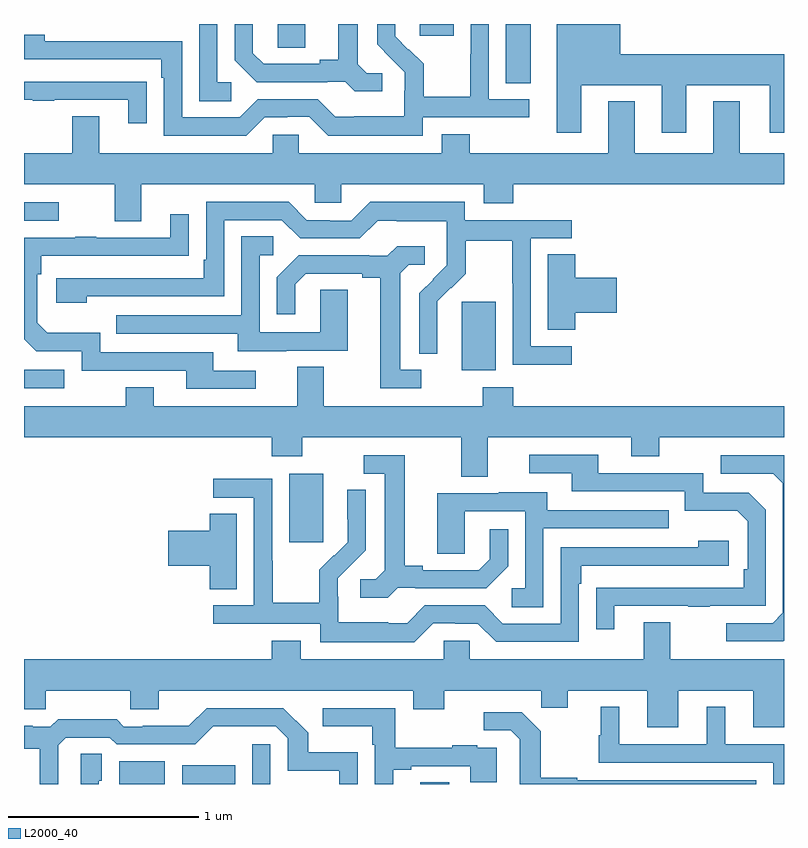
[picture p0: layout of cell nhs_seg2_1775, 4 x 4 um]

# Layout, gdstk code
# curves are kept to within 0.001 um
import gdstk
lib = gdstk.Library(unit=1e-6, precision=1e-09)
def R(c, l, rs):  # rectangles x0, y0, x1, y1
    for r in rs: c.add(gdstk.rectangle(r[:2], r[2:], *l))
def P(c, l, *ps):  # polygons
    for p in ps: c.add(gdstk.Polygon(p, *l))
L2000_40 = (2000, 40)

nhs_seg2_1775 = lib.new_cell('nhs_seg2_1775')
R(nhs_seg2_1775, L2000_40, [(203.501,657.8,203.74,657.919), (203.834,657.8,204.112,657.898), (204.201,657.8,204.297,658.009), (205.085,657.8,205.237,657.809), (204.395,659.073,204.574,659.434), (203,659.883,203.212,659.979), (205.304,659.978,205.483,660.339), (203,660.765,203.182,660.861), (205.535,661.489,205.666,661.8), (204.336,661.675,204.481,661.8), (205.082,661.737,205.261,661.8)])
P(nhs_seg2_1775, L2000_40, [(205.933,661.478),(206.357,661.478),(206.357,661.227),(206.485,661.227),(206.485,661.478),(206.924,661.478),(206.924,661.227),(207,661.227),(207,661.642),(206.137,661.642),(206.137,661.8),(205.805,661.8),(205.805,661.227),(205.933,661.227)],
  [(205.098,661.308),(205.66,661.308),(205.66,661.404),(205.446,661.404),(205.446,661.8),(205.35,661.8),(205.35,661.64),(205.348,661.64),(205.348,661.417),(205.103,661.417),(205.103,661.591),(205.026,661.668),(205.023,661.665),(204.953,661.736),(204.953,661.8),(204.858,661.8),(204.858,661.694),(205.004,661.546),(205.004,661.449),(205.002,661.449),(205.002,661.315),(204.739,661.315),(204.739,661.311),(204.639,661.311),(204.546,661.404),(204.231,661.404),(204.135,661.308),(203.832,661.308),(203.832,661.71),(203.108,661.71),(203.108,661.744),(203,661.744),(203,661.614),(203.723,661.614),(203.723,661.517),(203.736,661.517),(203.736,661.212),(204.171,661.212),(204.267,661.308),(204.386,661.308),(204.386,661.311),(204.501,661.311),(204.601,661.211),(205.098,661.211)],
  [(204.886,661.542),(204.804,661.542),(204.757,661.589),(204.757,661.8),(204.653,661.8),(204.653,661.613),(204.557,661.613),(204.557,661.59),(204.262,661.59),(204.205,661.647),(204.205,661.8),(204.108,661.8),(204.108,661.61),(204.224,661.494),(204.596,661.494),(204.596,661.497),(204.69,661.497),(204.742,661.445),(204.886,661.445)],
  [(204.091,661.494),(204.018,661.494),(204.018,661.8),(203.922,661.8),(203.922,661.393),(204.091,661.393)],
  [(203.645,661.496),(203.543,661.496),(203.543,661.497),(203,661.497),(203,661.401),(203.047,661.401),(203.047,661.396),(203.159,661.396),(203.159,661.401),(203.549,661.401),(203.549,661.278),(203.645,661.278)],
  [(205.421,660.857),(205.574,660.857),(205.574,660.956),(207,660.956),(207,661.12),(206.767,661.12),(206.767,661.393),(206.627,661.393),(206.627,661.12),(206.215,661.12),(206.215,661.393),(206.075,661.393),(206.075,661.12),(205.347,661.12),(205.347,661.219),(205.199,661.219),(205.199,661.12),(204.447,661.12),(204.447,661.218),(204.309,661.218),(204.309,661.12),(203.395,661.12),(203.395,661.315),(203.255,661.315),(203.255,661.12),(203,661.12),(203,660.956),(203.477,660.956),(203.477,660.762),(203.617,660.762),(203.617,660.956),(204.531,660.956),(204.531,660.858),(204.669,660.858),(204.669,660.956),(205.421,660.956)],
  [(205.882,660.105),(205.668,660.105),(205.668,660.672),(205.882,660.672),(205.882,660.768),(205.32,660.768),(205.32,660.865),(204.823,660.865),(204.723,660.765),(204.608,660.765),(204.608,660.768),(204.489,660.768),(204.393,660.864),(203.958,660.864),(203.958,660.559),(203.945,660.559),(203.945,660.462),(203.169,660.462),(203.169,660.332),(203.33,660.332),(203.33,660.366),(204.054,660.366),(204.054,660.768),(204.357,660.768),(204.453,660.672),(204.768,660.672),(204.861,660.765),(204.961,660.765),(204.961,660.761),(205.224,660.761),(205.224,660.627),(205.226,660.627),(205.226,660.53),(205.08,660.382),(205.08,660.064),(205.176,660.064),(205.175,660.341),(205.245,660.411),(205.248,660.408),(205.325,660.485),(205.325,660.66),(205.57,660.66),(205.57,660.436),(205.572,660.436),(205.572,660.007),(205.882,660.007)],
  [(204.22,659.976),(203.995,659.976),(203.995,660.072),(203.4,660.072),(203.4,660.175),(203.123,660.175),(203.07,660.228),(203.07,660.482),(203.09,660.482),(203.09,660.579),(203.867,660.58),(203.867,660.799),(203.771,660.799),(203.771,660.675),(203.381,660.675),(203.381,660.68),(203.269,660.68),(203.269,660.675),(203,660.675),(203,660.142),(203.064,660.078),(203.304,660.078),(203.304,659.976),(203.855,659.976),(203.855,659.88),(204.22,659.88)],
  [(204.379,660.081),(204.703,660.081),(204.703,660.401),(204.558,660.401),(204.558,660.177),(204.24,660.177),(204.24,660.582),(204.313,660.582),(204.313,660.683),(204.144,660.683),(204.144,660.267),(203.485,660.267),(203.485,660.171),(204.125,660.171),(204.125,660.077),(204.379,660.077)],
  [(205.09,659.979),(204.979,659.979),(204.979,660.487),(205.026,660.534),(205.108,660.534),(205.108,660.631),(204.964,660.631),(204.912,660.579),(204.818,660.579),(204.818,660.582),(204.446,660.582),(204.33,660.466),(204.33,660.273),(204.427,660.273),(204.427,660.429),(204.484,660.486),(204.779,660.486),(204.779,660.464),(204.875,660.464),(204.875,659.883),(205.09,659.883)],
  [(205.901,660.281),(206.119,660.281),(206.119,660.464),(205.901,660.464),(205.901,660.587),(205.757,660.587),(205.757,660.19),(205.901,660.19)],
  [(205.441,659.624),(206.195,659.624),(206.195,659.525),(206.343,659.525),(206.343,659.624),(207,659.624),(207,659.788),(205.574,659.788),(205.574,659.887),(205.414,659.887),(205.414,659.788),(204.577,659.788),(204.577,659.996),(204.437,659.996),(204.437,659.788),(203.683,659.788),(203.683,659.887),(203.536,659.887),(203.536,659.788),(203,659.788),(203,659.624),(204.305,659.624),(204.305,659.525),(204.465,659.525),(204.465,659.624),(205.301,659.624),(205.301,659.416),(205.441,659.416)],
  [(206.107,658.737),(206.497,658.737),(206.497,658.732),(206.609,658.732),(206.609,658.737),(206.904,658.737),(206.904,659.244),(206.814,659.334),(206.574,659.334),(206.574,659.436),(206.023,659.436),(206.023,659.532),(205.659,659.532),(205.659,659.436),(205.883,659.436),(205.883,659.34),(206.478,659.34),(206.478,659.237),(206.755,659.237),(206.808,659.184),(206.808,658.93),(206.788,658.93),(206.788,658.833),(206.011,658.832),(206.011,658.614),(206.107,658.614)],
  [(204.966,658.833),(205.06,658.833),(205.06,658.83),(205.432,658.83),(205.548,658.946),(205.548,659.14),(205.451,659.14),(205.451,658.983),(205.394,658.926),(205.099,658.926),(205.099,658.949),(205.003,658.949),(205.003,659.529),(204.789,659.529),(204.789,659.433),(204.899,659.433),(204.899,658.925),(204.852,658.878),(204.771,658.878),(204.771,658.781),(204.914,658.781)],
  [(207,658.554),(207,659.529),(206.667,659.529),(206.667,659.433),(206.943,659.433),(206.994,659.382),(206.994,658.701),(206.94,658.647),(206.697,658.647),(206.697,658.551),(206.997,658.551)],
  [(205.155,658.647),(205.271,658.647),(205.271,658.644),(205.389,658.644),(205.485,658.548),(205.92,658.548),(205.92,658.853),(205.933,658.853),(205.933,658.95),(206.71,658.95),(206.71,659.08),(206.549,659.08),(206.549,659.046),(205.824,659.046),(205.824,658.644),(205.521,658.644),(205.425,658.74),(205.11,658.74),(205.017,658.647),(204.917,658.647),(204.917,658.651),(204.654,658.651),(204.654,658.785),(204.652,658.785),(204.652,658.882),(204.798,659.03),(204.798,659.348),(204.702,659.348),(204.702,659.194),(204.704,659.194),(204.704,659.072),(204.633,659.001),(204.63,659.004),(204.553,658.927),(204.553,658.753),(204.309,658.753),(204.309,658.976),(204.306,658.976),(204.306,659.406),(203.997,659.406),(203.997,659.307),(204.21,659.307),(204.21,658.74),(203.997,658.74),(203.997,658.644),(204.558,658.644),(204.558,658.547),(205.055,658.547)],
  [(205.734,659.145),(206.393,659.145),(206.393,659.241),(205.753,659.241),(205.753,659.335),(205.499,659.335),(205.499,659.331),(205.175,659.331),(205.175,659.011),(205.32,659.011),(205.32,659.235),(205.638,659.235),(205.638,658.83),(205.566,658.83),(205.566,658.729),(205.734,658.729)],
  [(204.121,659.222),(203.978,659.222),(203.978,659.132),(203.76,659.132),(203.76,658.949),(203.978,658.949),(203.978,658.825),(204.121,658.825)],
  [(204.305,658.555),(204.305,658.456),(203,658.456),(203,658.194),(203.115,658.194),(203.115,658.292),(203.56,658.292),(203.56,658.194),(203.71,658.194),(203.71,658.292),(205.049,658.292),(205.049,658.193),(205.213,658.193),(205.213,658.292),(205.723,658.292),(205.723,658.202),(205.861,658.202),(205.861,658.292),(206.279,658.292),(206.279,658.098),(206.443,658.098),(206.443,658.292),(206.837,658.292),(206.837,658.098),(207,658.098),(207,658.456),(206.401,658.456),(206.401,658.651),(206.261,658.651),(206.261,658.456),(205.347,658.456),(205.347,658.554),(205.209,658.554),(205.209,658.456),(204.457,658.456),(204.457,658.555)],
  [(207,658.008),(206.692,658.008),(206.692,658.207),(206.594,658.207),(206.594,658.008),(206.134,658.008),(206.134,658.207),(206.036,658.207),(206.036,658.056),(206.025,658.056),(206.025,657.912),(206.943,657.912),(206.943,657.8),(207,657.8)],
  [(203.181,658.005),(203.22,658.044),(203.451,658.044),(203.487,658.008),(203.901,658.008),(203.996,658.103),(204.324,658.104),(204.387,658.041),(204.387,657.87),(204.66,657.87),(204.66,657.8),(204.756,657.8),(204.756,657.967),(204.495,657.967),(204.495,658.07),(204.364,658.2),(203.961,658.2),(203.867,658.106),(203.626,658.106),(203.626,658.101),(203.526,658.101),(203.487,658.141),(203.179,658.141),(203.139,658.101),(203.045,658.101),(203.045,658.106),(203,658.106),(203,657.986),(203.084,657.986),(203.084,657.8),(203.181,657.8)],
  [(204.943,657.876),(205.039,657.876),(205.039,657.894),(205.349,657.894),(205.349,657.81),(205.489,657.81),(205.489,657.99),(205.385,657.99),(205.385,658.003),(205.253,658.003),(205.253,657.992),(204.955,657.992),(204.955,658.2),(204.573,658.2),(204.573,658.103),(204.834,658.103),(204.834,658.007),(204.846,658.007),(204.846,657.8),(204.943,657.8)],
  [(206.854,657.819),(205.911,657.819),(205.911,657.832),(205.719,657.832),(205.719,658.077),(205.619,658.177),(205.419,658.177),(205.419,658.083),(205.563,658.083),(205.61,658.036),(205.61,657.941),(205.608,657.941),(205.608,657.8),(206.854,657.8)],
  [(203.394,657.816),(203.41,657.816),(203.41,657.959),(203.298,657.959),(203.298,657.8),(203.394,657.8)])

lib.write_gds('nhs_seg2_1775.gds')
